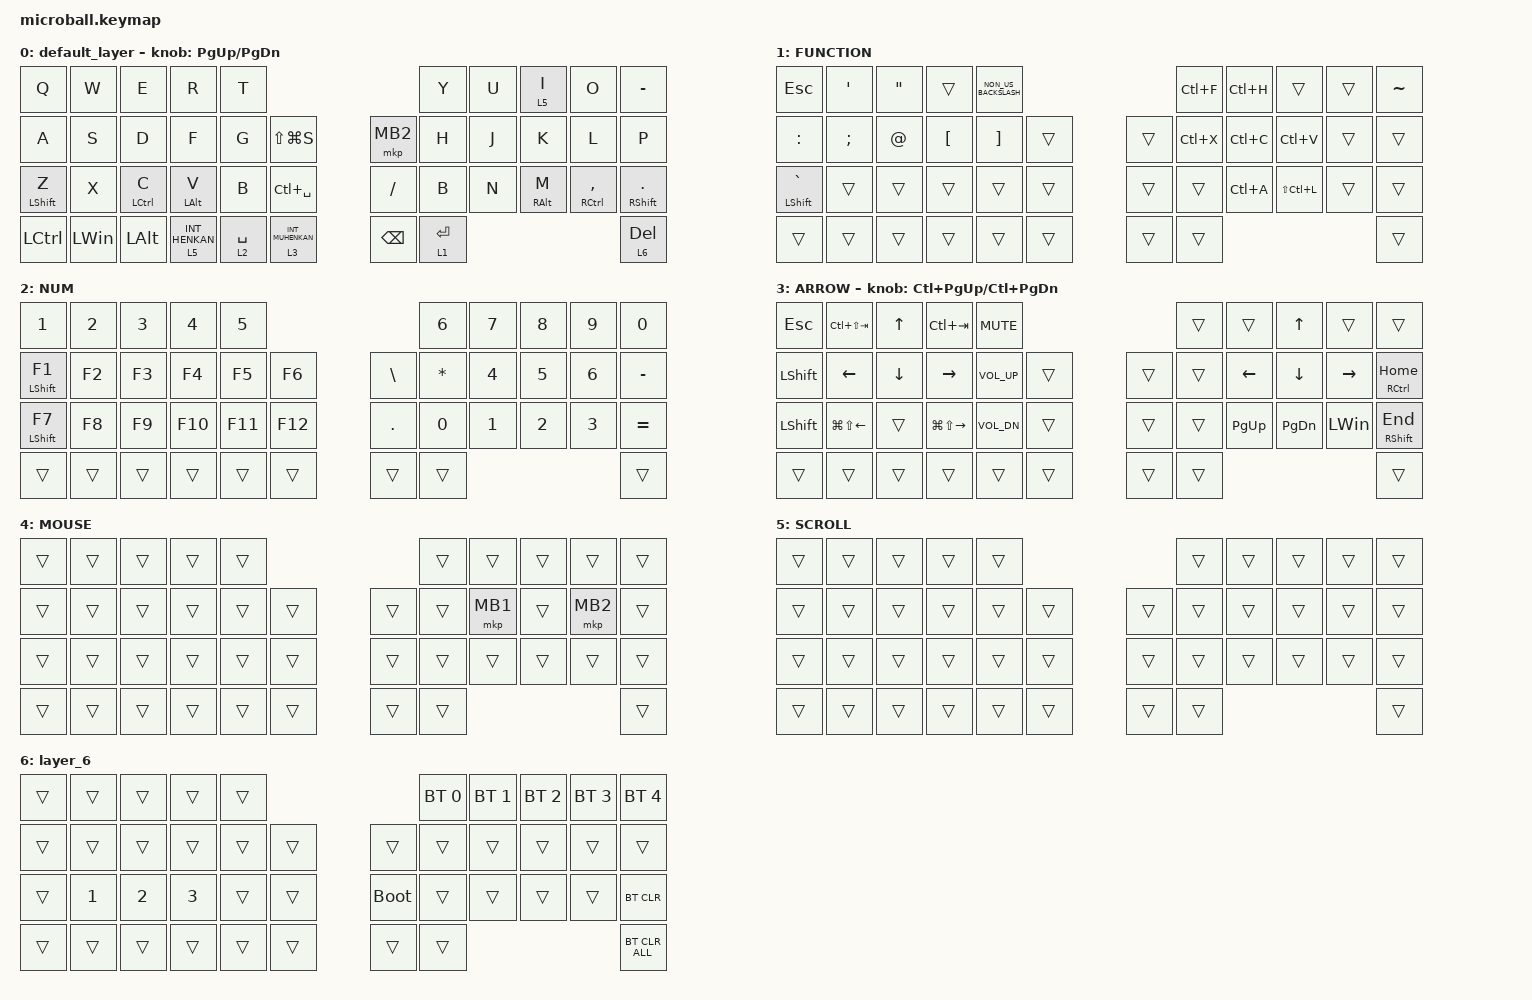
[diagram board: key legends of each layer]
#include <behaviors.dtsi>
#include <dt-bindings/zmk/bt.h>
#include <dt-bindings/zmk/keys.h>
#include <dt-bindings/zmk/pointing.h>

#define MOUSE 4
#define SCROLL 5
#define NUM 6

&mt {
    flavor = "balanced";
    quick-tap-ms = <0>;
};

/ {
    combos {
        compatible = "zmk,combos";

        tab {
            bindings = <&kp TAB>;
            key-positions = <11 12>;
        };

        shift_tab {
            bindings = <&kp LS(TAB)>;
            key-positions = <12 13>;
        };

        muhennkann {
            bindings = <&to_layer_0 INT_MUHENKAN>;
            key-positions = <11 10>;
        };

        double_quotation {
            bindings = <&kp DOUBLE_QUOTES>;
            key-positions = <20 21>;
        };

        eq {
            bindings = <&kp EQUAL>;
            key-positions = <24 25>;
        };
    };

    macros {
        to_layer_0: to_layer_0 {
            compatible = "zmk,behavior-macro-one-param";
            #binding-cells = <1>;
            bindings = <&to 0 &macro_param_1to1 &kp MACRO_PLACEHOLDER>;
            label = "TO_LAYER_0";
        };
    };

    behaviors {
        lt_to_layer_0: lt_to_layer_0 {
            compatible = "zmk,behavior-hold-tap";
            label = "LAYER_TAP_TO_0";
            bindings = <&mo>, <&to_layer_0>;

            #binding-cells = <2>;
            tapping-term-ms = <200>;
        };
    };

    keymap {
        compatible = "zmk,keymap";

        default_layer {
            bindings = <
&kp Q             &kp W         &kp E         &kp R                        &kp T                                                          &kp Y        &kp U  &lt 5 I          &kp O                    &kp MINUS
&kp A             &kp S         &kp D         &kp F                        &kp G        &kp LS(LG(S))                      &mkp MB2       &kp H        &kp J  &kp K            &kp L                    &kp P
&mt LEFT_SHIFT Z  &kp X         &mt LCTRL C   &mt LEFT_ALT V               &kp B        &kp LC(SPACE)                      &kp SLASH      &kp B        &kp N  &mt RIGHT_ALT M  &mt RIGHT_CONTROL COMMA  &mt RIGHT_SHIFT PERIOD
&kp LCTRL         &kp LEFT_WIN  &kp LEFT_ALT  &lt_to_layer_0 5 INT_HENKAN  &lt 2 SPACE  &lt_to_layer_0 3 INT_MUHENKAN      &kp BACKSPACE  &lt 1 ENTER                                                   &lt 6 DEL
            >;

            sensor-bindings = <&inc_dec_kp PG_UP PAGE_DOWN>;
        };

        FUNCTION {
            bindings = <
&kp ESCAPE            &kp SINGLE_QUOTE  &kp DOUBLE_QUOTES  &trans            &kp NON_US_BACKSLASH                      &kp LC(F)  &kp LC(H)  &trans         &trans  &kp TILDE
&kp COLON             &kp SEMICOLON     &kp AT_SIGN        &kp LEFT_BRACKET  &kp RIGHT_BRACKET     &trans      &trans  &kp LC(X)  &kp LC(C)  &kp LC(V)      &trans  &trans
&mt LEFT_SHIFT GRAVE  &trans            &trans             &trans            &trans                &trans      &trans  &trans     &kp LC(A)  &kp LS(LC(L))  &trans  &trans
&trans                &trans            &trans             &trans            &trans                &trans      &trans  &trans                                       &trans
            >;
        };

        NUM {
            bindings = <
&kp NUMBER_1       &kp NUMBER_2  &kp NUMBER_3  &kp NUMBER_4  &kp N5                               &kp NUMBER_6  &kp N7        &kp N8        &kp N9        &kp N0
&mt LEFT_SHIFT F1  &kp F2        &kp F3        &kp F4        &kp F5   &kp F6       &kp BACKSLASH  &kp ASTERISK  &kp NUMBER_4  &kp N5        &kp NUMBER_6  &kp MINUS
&mt LEFT_SHIFT F7  &kp F8        &kp F9        &kp F10       &kp F11  &kp F12      &kp PERIOD     &kp N0        &kp NUMBER_1  &kp NUMBER_2  &kp NUMBER_3  &kp EQUAL
&trans             &trans        &trans        &trans        &trans   &trans       &trans         &trans                                                  &trans
            >;
        };

        ARROW {
            bindings = <
&kp ESCAPE      &kp LC(LS(TAB))         &kp UP_ARROW    &kp LC(TAB)              &kp C_MUTE                           &trans  &trans          &kp UP_ARROW    &trans        &trans
&kp LEFT_SHIFT  &kp LEFT_ARROW          &kp DOWN_ARROW  &kp RIGHT_ARROW          &kp C_VOLUME_UP  &trans      &trans  &trans  &kp LEFT_ARROW  &kp DOWN_ARROW  &kp RIGHT     &mt RIGHT_CONTROL HOME
&kp LEFT_SHIFT  &kp LG(LS(LEFT_ARROW))  &trans          &kp LG(LS(RIGHT_ARROW))  &kp C_VOL_DN     &trans      &trans  &trans  &kp PAGE_UP     &kp PAGE_DOWN   &kp LEFT_WIN  &mt RIGHT_SHIFT END
&trans          &trans                  &trans          &trans                   &trans           &trans      &trans  &trans                                                &trans
            >;

            sensor-bindings = <&inc_dec_kp LC(PAGE_UP) LC(PAGE_DOWN)>;
        };

        MOUSE {
            bindings = <
&trans  &trans  &trans  &trans  &trans                      &trans  &trans    &trans  &trans    &trans
&trans  &trans  &trans  &trans  &trans  &trans      &trans  &trans  &mkp MB1  &trans  &mkp MB2  &trans
&trans  &trans  &trans  &trans  &trans  &trans      &trans  &trans  &trans    &trans  &trans    &trans
&trans  &trans  &trans  &trans  &trans  &trans      &trans  &trans                              &trans
            >;
        };

        SCROLL {
            bindings = <
&trans  &trans  &trans  &trans  &trans                      &trans  &trans  &trans  &trans  &trans
&trans  &trans  &trans  &trans  &trans  &trans      &trans  &trans  &trans  &trans  &trans  &trans
&trans  &trans  &trans  &trans  &trans  &trans      &trans  &trans  &trans  &trans  &trans  &trans
&trans  &trans  &trans  &trans  &trans  &trans      &trans  &trans                          &trans
            >;
        };

        layer_6 {
            bindings = <
&trans  &trans        &trans        &trans        &trans                           &bt BT_SEL 0  &bt BT_SEL 1  &bt BT_SEL 2  &bt BT_SEL 3  &bt BT_SEL 4
&trans  &trans        &trans        &trans        &trans  &trans      &trans       &trans        &trans        &trans        &trans        &trans
&trans  &kp NUMBER_1  &kp NUMBER_2  &kp NUMBER_3  &trans  &trans      &bootloader  &trans        &trans        &trans        &trans        &bt BT_CLR
&trans  &trans        &trans        &trans        &trans  &trans      &trans       &trans                                                  &bt BT_CLR_ALL
            >;
        };
    };
};
